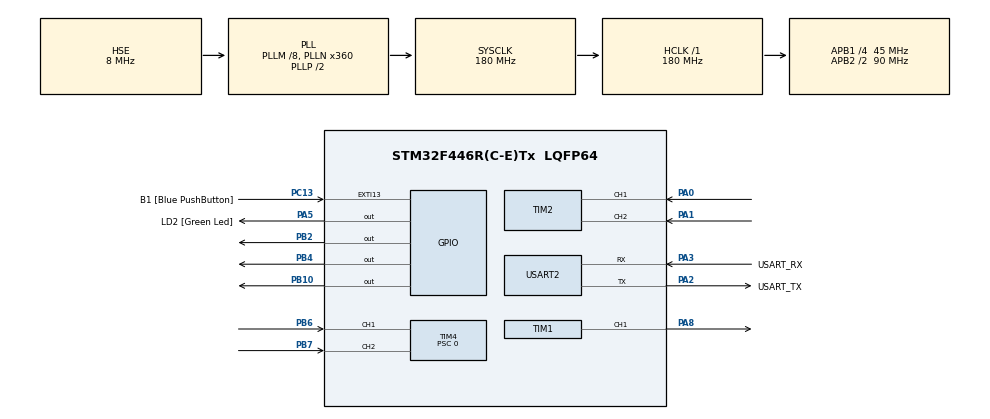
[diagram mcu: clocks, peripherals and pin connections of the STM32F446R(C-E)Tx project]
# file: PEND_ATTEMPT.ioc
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Dma.Request0=USART2_TX
Dma.USART2_TX.0.Direction=DMA_MEMORY_TO_PERIPH
Dma.USART2_TX.0.FIFOMode=DMA_FIFOMODE_DISABLE
Dma.USART2_TX.0.Instance=DMA1_Stream6
Dma.USART2_TX.0.MemDataAlignment=DMA_MDATAALIGN_BYTE
Dma.USART2_TX.0.MemInc=DMA_MINC_ENABLE
Dma.USART2_TX.0.Mode=DMA_NORMAL
Dma.USART2_TX.0.PeriphDataAlignment=DMA_PDATAALIGN_BYTE
Dma.USART2_TX.0.PeriphInc=DMA_PINC_DISABLE
Dma.USART2_TX.0.Priority=DMA_PRIORITY_LOW
Mcu.Family=STM32F4
Mcu.Name=STM32F446R(C-E)Tx
Mcu.Package=LQFP64
NVIC.DMA1_Stream6_IRQn=true\:1\:0\:true\:false\:true\:false\:true\:true
NVIC.PriorityGroup=NVIC_PRIORITYGROUP_1
NVIC.TIM3_IRQn=true\:0\:0\:false\:false\:true\:true\:true\:true
NVIC.TIM4_IRQn=true\:1\:0\:true\:false\:true\:true\:true\:true
PA0-WKUP.Signal=S_TIM2_CH1_ETR
PA1.Signal=S_TIM2_CH2
PA13.GPIO_Label=TMS
PA13.Mode=Serial_Wire
PA13.Signal=SYS_JTMS-SWDIO
PA14.GPIO_Label=TCK
PA14.Mode=Serial_Wire
PA14.Signal=SYS_JTCK-SWCLK
PA2.GPIO_Label=USART_TX
PA2.Mode=Asynchronous
PA2.Signal=USART2_TX
PA3.GPIO_Label=USART_RX
PA3.Mode=Asynchronous
PA3.Signal=USART2_RX
PA5.GPIO_Label=LD2 [Green Led]
PA5.Signal=GPIO_Output
PA8.Signal=S_TIM1_CH1
PB10.Signal=GPIO_Output
PB2.Signal=GPIO_Output
PB3.GPIO_Label=SWO
PB3.Signal=SYS_JTDO-SWO
PB4.Signal=GPIO_Output
PB6.Signal=S_TIM4_CH1
PB7.Signal=S_TIM4_CH2
PC13.GPIO_Label=B1 [Blue PushButton]
PC13.GPIO_ModeDefaultEXTI=GPIO_MODE_IT_FALLING
PC13.Signal=GPXTI13
PC14-OSC32_IN.Mode=LSE-External-Oscillator
PC14-OSC32_IN.Signal=RCC_OSC32_IN
PC15-OSC32_OUT.Mode=LSE-External-Oscillator
PC15-OSC32_OUT.Signal=RCC_OSC32_OUT
PH0-OSC_IN.Mode=HSE-External-Oscillator
PH0-OSC_IN.Signal=RCC_OSC_IN
PH1-OSC_OUT.Mode=HSE-External-Oscillator
PH1-OSC_OUT.Signal=RCC_OSC_OUT
ProjectManager.HeapSize=0x200
ProjectManager.StackSize=0x400
ProjectManager.TargetToolchain=STM32CubeIDE
RCC.48MHZClocksFreq_Value=84000000
RCC.AHBFreq_Value=180000000
RCC.APB1CLKDivider=RCC_HCLK_DIV4
RCC.APB1Freq_Value=45000000
RCC.APB1TimFreq_Value=90000000
RCC.APB2CLKDivider=RCC_HCLK_DIV2
RCC.APB2Freq_Value=90000000
RCC.APB2TimFreq_Value=180000000
RCC.CortexFreq_Value=180000000
RCC.FLatency-AdvancedSettings=FLASH_LATENCY_5
RCC.HCLKFreq_Value=180000000
RCC.HSE_VALUE=8000000
RCC.HSI_VALUE=16000000
RCC.PLLM=8
RCC.PLLN=360
RCC.PLLSourceVirtual=RCC_PLLSOURCE_HSE
RCC.SYSCLKFreq_VALUE=180000000
RCC.SYSCLKSource=RCC_SYSCLKSOURCE_PLLCLK
RCC.USBFreq_Value=180000000
RCC.VCOOutputFreq_Value=360000000
SH.S_TIM1_CH1.0=TIM1_CH1,PWM Generation1 CH1
SH.S_TIM2_CH1_ETR.0=TIM2_CH1,Encoder_Interface
SH.S_TIM2_CH2.0=TIM2_CH2,Encoder_Interface
SH.S_TIM4_CH1.0=TIM4_CH1,Encoder_Interface
SH.S_TIM4_CH2.0=TIM4_CH2,Encoder_Interface
TIM1.AutoReloadPreload=TIM_AUTORELOAD_PRELOAD_ENABLE
TIM1.Channel-PWM\ Generation1\ CH1=TIM_CHANNEL_1
TIM1.Period=8999
TIM2.EncoderMode=TIM_ENCODERMODE_TI12
TIM3.AutoReloadPreload=TIM_AUTORELOAD_PRELOAD_ENABLE
TIM3.Period=19
TIM3.Prescaler=8999
TIM4.EncoderMode=TIM_ENCODERMODE_TI12
TIM4.Prescaler=0
USART2.VirtualMode=VM_ASYNC
VP_TIM1_VS_ClockSourceINT.Mode=Internal
VP_TIM3_VS_ClockSourceINT.Mode=Internal
board=NUCLEO-F446RE

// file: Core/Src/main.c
/* USER CODE BEGIN Header */
/**
  ******************************************************************************
  * @file           : main.c
  * @brief          : Main program body
  ******************************************************************************
  * @attention
  *
  * Copyright (c) 2026 STMicroelectronics.
  * All rights reserved.
  *
  * This software is licensed under terms that can be found in the LICENSE file
  * in the root directory of this software component.
  * If no LICENSE file comes with this software, it is provided AS-IS.
  *
  ******************************************************************************
  */
/* USER CODE END Header */
#include "main.h"

/* USER CODE BEGIN Includes */
#include <math.h>
#include <stdlib.h>
#include <string.h>
#include <stdio.h>
/* USER CODE END Includes */

/* USER CODE BEGIN PD */
#define DT   0.002f
#define V_SUPPLY 3.0f   // change to 12.0f V
//physics sims constants
#define G       9.81f
#define M_PEND  0.5f
#define L       0.3f
#define R_M     2.4f
#define K_E     0.00954f
#define K_T     0.03f
#define DELTA_SW      0.5f
#define DELTA_DOT_SW  4.0f
/* USER CODE END PD */

TIM_HandleTypeDef htim1;
TIM_HandleTypeDef htim2;
TIM_HandleTypeDef htim3;
TIM_HandleTypeDef htim4;

UART_HandleTypeDef huart2;
DMA_HandleTypeDef hdma_usart2_tx;

void SystemClock_Config(void);
static void MX_GPIO_Init(void);
static void MX_DMA_Init(void);
static void MX_USART2_UART_Init(void);
static void MX_TIM1_Init(void);
static void MX_TIM3_Init(void);
static void MX_TIM4_Init(void);
static void MX_TIM2_Init(void);
/* USER CODE BEGIN PFP */
void HAL_TIM_PeriodElapsedCallback(TIM_HandleTypeDef *htim);
void setMotor(float Vcmd);
static inline float wrap(float angle);
/* USER CODE END PFP */

/* USER CODE BEGIN 0 */
//control loop constant
volatile uint8_t doControl = 0;
//gains from sim
const float Kd[2] = {-4.976694f, -1.404655f};
const float Ad[2][2] = {{1.000065f, 0.002000f}, {0.065401f, 1.000065f}};
const float Bd[2]    = {-0.000089f, -0.088891f};
const float Ld[2]    = {0.190094f,  4.418506f};
/* USER CODE END 0 */

int main(void)
{

  /* USER CODE BEGIN 1 */
	float x_hat[2]   = {-M_PI, 0.0f};
	float V_prev     = 0.0f;
	float omega_prev = 0.0f;
  /* USER CODE END 1 */

  /* MCU Configuration--------------------------------------------------------*/

  /* Reset of all peripherals, Initializes the Flash interface and the Systick. */
  HAL_Init();

  /* Configure the system clock */
  SystemClock_Config();

  /* Initialize all configured peripherals */
  MX_GPIO_Init();
  MX_DMA_Init();
  MX_USART2_UART_Init();
  MX_TIM1_Init();
  MX_TIM3_Init();
  MX_TIM4_Init();
  MX_TIM2_Init();
  /* USER CODE BEGIN 2 */
  HAL_TIM_Base_Start_IT(&htim3);
  HAL_TIM_PWM_Start(&htim1, TIM_CHANNEL_1);
  HAL_TIM_Encoder_Start(&htim2, TIM_CHANNEL_ALL);
  HAL_TIM_Encoder_Start(&htim4, TIM_CHANNEL_ALL);
  // = awake for the sleep pin
  HAL_GPIO_WritePin(GPIOB, GPIO_PIN_4, GPIO_PIN_SET);
  /* USER CODE END 2 */

  /* Infinite loop */
  /* USER CODE BEGIN WHILE */
  while (1)
  {
	  if (doControl) {
		  doControl=0;
		  //previous tau
		  float tau_prev = K_T * (V_prev - K_E * omega_prev) / R_M;
		  //we measure theta
		  int16_t count = (int16_t)TIM4->CNT;
		  float theta = ((float)count/(2048.0f * 4.0f))*2.0f*M_PI;
		  float delta_meas = wrap(theta - M_PI);
		  //we measure Omega
		  int32_t raw = (int32_t)TIM2->CNT;
		  float omega = ((float)raw / 48.0f) * (2.0f * M_PI) / DT;
		  TIM2->CNT = 0;
		  //sim + control
		  float x_hat_new[2];
		  x_hat_new[0] = Ad[0][0]*x_hat[0] + Ad[0][1]*x_hat[1] + Bd[0]*tau_prev;
		  x_hat_new[1] = Ad[1][0]*x_hat[0] + Ad[1][1]*x_hat[1] + Bd[1]*tau_prev;
		  x_hat[0] = x_hat_new[0];
		  x_hat[1] = x_hat_new[1];
		  //we correct with our out of house L constant from sim
		  float innov = delta_meas-x_hat[0];
		  x_hat[0] = x_hat[0] + Ld[0]*innov;
		  x_hat[1] = x_hat[1] + Ld[1] * innov;
		  //LQR or Bang Bang?
		  //energy for bang bang
		  float E = 0.5f * M_PEND * L * L * x_hat[1] * x_hat[1] - M_PEND * G * L * cosf(theta);
		  //our goal
		  float E_star = M_PEND * L * G;
		  //Bang Bang voltage:
		  float V_su;
		  if (fabsf(x_hat[1])<1e-6f) {
		        V_su = 0.3f*V_SUPPLY;
		   }
		   else if (E<E_star) {
		        V_su = -V_SUPPLY*x_hat[1]/(fabsf(x_hat[1]));
		   }
		   else {
		        V_su = 0;
		   }
		   //LQR
		   float tau_lqr_des = -(Kd[0] * x_hat[0] + Kd[1] * x_hat[1]);
		   float V_lqr = (tau_lqr_des/K_T)*R_M + K_E * omega;
		   //we choose
		   float V_cmd;
		   if (fabsf(x_hat[0])<DELTA_SW && fabsf(x_hat[1])<DELTA_DOT_SW) {
		        V_cmd=V_lqr;
		    }
		    else {
		        V_cmd = V_su;
		    }
		   setMotor(V_cmd);
		   omega_prev = omega;
		   V_prev = V_cmd;
		   static char buf[64];
		   static uint8_t uart_div = 0;
		   if (++uart_div >= 10) {
		       uart_div = 0;
		       int len = snprintf(buf, sizeof(buf), "%.3f,%.3f,%.3f,%.3f\r\n",
		                          delta_meas, x_hat[1], omega, V_cmd);
		       HAL_UART_Transmit_DMA(&huart2, (uint8_t*)buf, len);
		   }

	  }
    /* USER CODE END WHILE */

  }
}

void SystemClock_Config(void)
{
  RCC_OscInitTypeDef RCC_OscInitStruct = {0};
  RCC_ClkInitTypeDef RCC_ClkInitStruct = {0};

  /** Configure the main internal regulator output voltage
  */
  __HAL_RCC_PWR_CLK_ENABLE();
  __HAL_PWR_VOLTAGESCALING_CONFIG(PWR_REGULATOR_VOLTAGE_SCALE1);

  /** Initializes the RCC Oscillators according to the specified parameters
  * in the RCC_OscInitTypeDef structure.
  */
  RCC_OscInitStruct.OscillatorType = RCC_OSCILLATORTYPE_HSE;
  RCC_OscInitStruct.HSEState = RCC_HSE_ON;
  RCC_OscInitStruct.PLL.PLLState = RCC_PLL_ON;
  RCC_OscInitStruct.PLL.PLLSource = RCC_PLLSOURCE_HSE;
  RCC_OscInitStruct.PLL.PLLM = 8;
  RCC_OscInitStruct.PLL.PLLN = 360;
  RCC_OscInitStruct.PLL.PLLP = RCC_PLLP_DIV2;
  RCC_OscInitStruct.PLL.PLLQ = 2;
  RCC_OscInitStruct.PLL.PLLR = 2;
  if (HAL_RCC_OscConfig(&RCC_OscInitStruct) != HAL_OK)
  {
    Error_Handler();
  }

  /** Activate the Over-Drive mode
  */
  if (HAL_PWREx_EnableOverDrive() != HAL_OK)
  {
    Error_Handler();
  }

  /** Initializes the CPU, AHB and APB buses clocks
  */
  RCC_ClkInitStruct.ClockType = RCC_CLOCKTYPE_HCLK|RCC_CLOCKTYPE_SYSCLK
                              |RCC_CLOCKTYPE_PCLK1|RCC_CLOCKTYPE_PCLK2;
  RCC_ClkInitStruct.SYSCLKSource = RCC_SYSCLKSOURCE_PLLCLK;
  RCC_ClkInitStruct.AHBCLKDivider = RCC_SYSCLK_DIV1;
  RCC_ClkInitStruct.APB1CLKDivider = RCC_HCLK_DIV4;
  RCC_ClkInitStruct.APB2CLKDivider = RCC_HCLK_DIV2;

  if (HAL_RCC_ClockConfig(&RCC_ClkInitStruct, FLASH_LATENCY_5) != HAL_OK)
  {
    Error_Handler();
  }
}

static void MX_TIM1_Init(void)
{

  TIM_ClockConfigTypeDef sClockSourceConfig = {0};
  TIM_MasterConfigTypeDef sMasterConfig = {0};
  TIM_OC_InitTypeDef sConfigOC = {0};
  TIM_BreakDeadTimeConfigTypeDef sBreakDeadTimeConfig = {0};

  htim1.Instance = TIM1;
  htim1.Init.Prescaler = 0;
  htim1.Init.CounterMode = TIM_COUNTERMODE_UP;
  htim1.Init.Period = 8999;
  htim1.Init.ClockDivision = TIM_CLOCKDIVISION_DIV1;
  htim1.Init.RepetitionCounter = 0;
  htim1.Init.AutoReloadPreload = TIM_AUTORELOAD_PRELOAD_ENABLE;
  if (HAL_TIM_Base_Init(&htim1) != HAL_OK)
  {
    Error_Handler();
  }
  sClockSourceConfig.ClockSource = TIM_CLOCKSOURCE_INTERNAL;
  if (HAL_TIM_ConfigClockSource(&htim1, &sClockSourceConfig) != HAL_OK)
  {
    Error_Handler();
  }
  if (HAL_TIM_PWM_Init(&htim1) != HAL_OK)
  {
    Error_Handler();
  }
  sMasterConfig.MasterOutputTrigger = TIM_TRGO_RESET;
  sMasterConfig.MasterSlaveMode = TIM_MASTERSLAVEMODE_DISABLE;
  if (HAL_TIMEx_MasterConfigSynchronization(&htim1, &sMasterConfig) != HAL_OK)
  {
    Error_Handler();
  }
  sConfigOC.OCMode = TIM_OCMODE_PWM1;
  sConfigOC.Pulse = 0;
  sConfigOC.OCPolarity = TIM_OCPOLARITY_HIGH;
  sConfigOC.OCNPolarity = TIM_OCNPOLARITY_HIGH;
  sConfigOC.OCFastMode = TIM_OCFAST_DISABLE;
  sConfigOC.OCIdleState = TIM_OCIDLESTATE_RESET;
  sConfigOC.OCNIdleState = TIM_OCNIDLESTATE_RESET;
  if (HAL_TIM_PWM_ConfigChannel(&htim1, &sConfigOC, TIM_CHANNEL_1) != HAL_OK)
  {
    Error_Handler();
  }
  sBreakDeadTimeConfig.OffStateRunMode = TIM_OSSR_DISABLE;
  sBreakDeadTimeConfig.OffStateIDLEMode = TIM_OSSI_DISABLE;
  sBreakDeadTimeConfig.LockLevel = TIM_LOCKLEVEL_OFF;
  sBreakDeadTimeConfig.DeadTime = 0;
  sBreakDeadTimeConfig.BreakState = TIM_BREAK_DISABLE;
  sBreakDeadTimeConfig.BreakPolarity = TIM_BREAKPOLARITY_HIGH;
  sBreakDeadTimeConfig.AutomaticOutput = TIM_AUTOMATICOUTPUT_DISABLE;
  if (HAL_TIMEx_ConfigBreakDeadTime(&htim1, &sBreakDeadTimeConfig) != HAL_OK)
  {
    Error_Handler();
  }
  HAL_TIM_MspPostInit(&htim1);

}

static void MX_TIM2_Init(void)
{

  TIM_Encoder_InitTypeDef sConfig = {0};
  TIM_MasterConfigTypeDef sMasterConfig = {0};

  htim2.Instance = TIM2;
  htim2.Init.Prescaler = 0;
  htim2.Init.CounterMode = TIM_COUNTERMODE_UP;
  htim2.Init.Period = 4294967295;
  htim2.Init.ClockDivision = TIM_CLOCKDIVISION_DIV1;
  htim2.Init.AutoReloadPreload = TIM_AUTORELOAD_PRELOAD_DISABLE;
  sConfig.EncoderMode = TIM_ENCODERMODE_TI12;
  sConfig.IC1Polarity = TIM_ICPOLARITY_RISING;
  sConfig.IC1Selection = TIM_ICSELECTION_DIRECTTI;
  sConfig.IC1Prescaler = TIM_ICPSC_DIV1;
  sConfig.IC1Filter = 0;
  sConfig.IC2Polarity = TIM_ICPOLARITY_RISING;
  sConfig.IC2Selection = TIM_ICSELECTION_DIRECTTI;
  sConfig.IC2Prescaler = TIM_ICPSC_DIV1;
  sConfig.IC2Filter = 0;
  if (HAL_TIM_Encoder_Init(&htim2, &sConfig) != HAL_OK)
  {
    Error_Handler();
  }
  sMasterConfig.MasterOutputTrigger = TIM_TRGO_RESET;
  sMasterConfig.MasterSlaveMode = TIM_MASTERSLAVEMODE_DISABLE;
  if (HAL_TIMEx_MasterConfigSynchronization(&htim2, &sMasterConfig) != HAL_OK)
  {
    Error_Handler();
  }

}

static void MX_TIM3_Init(void)
{

  TIM_ClockConfigTypeDef sClockSourceConfig = {0};
  TIM_MasterConfigTypeDef sMasterConfig = {0};

  htim3.Instance = TIM3;
  htim3.Init.Prescaler = 8999;
  htim3.Init.CounterMode = TIM_COUNTERMODE_UP;
  htim3.Init.Period = 19;
  htim3.Init.ClockDivision = TIM_CLOCKDIVISION_DIV1;
  htim3.Init.AutoReloadPreload = TIM_AUTORELOAD_PRELOAD_ENABLE;
  if (HAL_TIM_Base_Init(&htim3) != HAL_OK)
  {
    Error_Handler();
  }
  sClockSourceConfig.ClockSource = TIM_CLOCKSOURCE_INTERNAL;
  if (HAL_TIM_ConfigClockSource(&htim3, &sClockSourceConfig) != HAL_OK)
  {
    Error_Handler();
  }
  sMasterConfig.MasterOutputTrigger = TIM_TRGO_RESET;
  sMasterConfig.MasterSlaveMode = TIM_MASTERSLAVEMODE_DISABLE;
  if (HAL_TIMEx_MasterConfigSynchronization(&htim3, &sMasterConfig) != HAL_OK)
  {
    Error_Handler();
  }

}

static void MX_TIM4_Init(void)
{

  TIM_Encoder_InitTypeDef sConfig = {0};
  TIM_MasterConfigTypeDef sMasterConfig = {0};

  htim4.Instance = TIM4;
  htim4.Init.Prescaler = 0;
  htim4.Init.CounterMode = TIM_COUNTERMODE_UP;
  htim4.Init.Period = 65535;
  htim4.Init.ClockDivision = TIM_CLOCKDIVISION_DIV1;
  htim4.Init.AutoReloadPreload = TIM_AUTORELOAD_PRELOAD_DISABLE;
  sConfig.EncoderMode = TIM_ENCODERMODE_TI12;
  sConfig.IC1Polarity = TIM_ICPOLARITY_RISING;
  sConfig.IC1Selection = TIM_ICSELECTION_DIRECTTI;
  sConfig.IC1Prescaler = TIM_ICPSC_DIV1;
  sConfig.IC1Filter = 0;
  sConfig.IC2Polarity = TIM_ICPOLARITY_RISING;
  sConfig.IC2Selection = TIM_ICSELECTION_DIRECTTI;
  sConfig.IC2Prescaler = TIM_ICPSC_DIV1;
  sConfig.IC2Filter = 0;
  if (HAL_TIM_Encoder_Init(&htim4, &sConfig) != HAL_OK)
  {
    Error_Handler();
  }
  sMasterConfig.MasterOutputTrigger = TIM_TRGO_RESET;
  sMasterConfig.MasterSlaveMode = TIM_MASTERSLAVEMODE_DISABLE;
  if (HAL_TIMEx_MasterConfigSynchronization(&htim4, &sMasterConfig) != HAL_OK)
  {
    Error_Handler();
  }

}

static void MX_USART2_UART_Init(void)
{

  huart2.Instance = USART2;
  huart2.Init.BaudRate = 115200;
  huart2.Init.WordLength = UART_WORDLENGTH_8B;
  huart2.Init.StopBits = UART_STOPBITS_1;
  huart2.Init.Parity = UART_PARITY_NONE;
  huart2.Init.Mode = UART_MODE_TX_RX;
  huart2.Init.HwFlowCtl = UART_HWCONTROL_NONE;
  huart2.Init.OverSampling = UART_OVERSAMPLING_16;
  if (HAL_UART_Init(&huart2) != HAL_OK)
  {
    Error_Handler();
  }

}

static void MX_DMA_Init(void)
{

  /* DMA controller clock enable */
  __HAL_RCC_DMA1_CLK_ENABLE();

  /* DMA interrupt init */
  /* DMA1_Stream6_IRQn interrupt configuration */
  HAL_NVIC_SetPriority(DMA1_Stream6_IRQn, 1, 0);
  HAL_NVIC_EnableIRQ(DMA1_Stream6_IRQn);

}

static void MX_GPIO_Init(void)
{
  GPIO_InitTypeDef GPIO_InitStruct = {0};

  /* GPIO Ports Clock Enable */
  __HAL_RCC_GPIOC_CLK_ENABLE();
  __HAL_RCC_GPIOH_CLK_ENABLE();
  __HAL_RCC_GPIOA_CLK_ENABLE();
  __HAL_RCC_GPIOB_CLK_ENABLE();

  /*Configure GPIO pin Output Level */
  HAL_GPIO_WritePin(LD2_GPIO_Port, LD2_Pin, GPIO_PIN_RESET);

  /*Configure GPIO pin Output Level */
  HAL_GPIO_WritePin(GPIOB, GPIO_PIN_2|GPIO_PIN_10|GPIO_PIN_4, GPIO_PIN_RESET);

  /*Configure GPIO pin : B1_Pin */
  GPIO_InitStruct.Pin = B1_Pin;
  GPIO_InitStruct.Mode = GPIO_MODE_IT_FALLING;
  GPIO_InitStruct.Pull = GPIO_NOPULL;
  HAL_GPIO_Init(B1_GPIO_Port, &GPIO_InitStruct);

  /*Configure GPIO pin : LD2_Pin */
  GPIO_InitStruct.Pin = LD2_Pin;
  GPIO_InitStruct.Mode = GPIO_MODE_OUTPUT_PP;
  GPIO_InitStruct.Pull = GPIO_NOPULL;
  GPIO_InitStruct.Speed = GPIO_SPEED_FREQ_LOW;
  HAL_GPIO_Init(LD2_GPIO_Port, &GPIO_InitStruct);

  /*Configure GPIO pins : PB2 PB10 PB4 */
  GPIO_InitStruct.Pin = GPIO_PIN_2|GPIO_PIN_10|GPIO_PIN_4;
  GPIO_InitStruct.Mode = GPIO_MODE_OUTPUT_PP;
  GPIO_InitStruct.Pull = GPIO_NOPULL;
  GPIO_InitStruct.Speed = GPIO_SPEED_FREQ_LOW;
  HAL_GPIO_Init(GPIOB, &GPIO_InitStruct);

}

/* USER CODE BEGIN 4 */
void HAL_TIM_PeriodElapsedCallback(TIM_HandleTypeDef *htim)
	{

		if (htim->Instance == TIM3)
		{
			doControl=1;
		}
}
void setMotor(float Vcmd){
	Vcmd=fmaxf(-V_SUPPLY,fminf(V_SUPPLY,Vcmd));
	uint32_t duty = (uint32_t)(fabsf(Vcmd)/V_SUPPLY*8999.0f);
	if (Vcmd>0.0f) {
		HAL_GPIO_WritePin(GPIOB, GPIO_PIN_10, GPIO_PIN_SET);//INA
		HAL_GPIO_WritePin(GPIOB, GPIO_PIN_2,  GPIO_PIN_RESET);//INB
	}
	else {
		HAL_GPIO_WritePin(GPIOB, GPIO_PIN_10, GPIO_PIN_RESET);//INA
		HAL_GPIO_WritePin(GPIOB, GPIO_PIN_2,  GPIO_PIN_SET);//INB
	}
	__HAL_TIM_SET_COMPARE(&htim1, TIM_CHANNEL_1, duty);

}
static inline float wrap(float angle) {
	    while (angle > M_PI)  angle -= 2.0f * M_PI;
	    while (angle < -M_PI) angle += 2.0f * M_PI;
	    return angle;
	}
/* USER CODE END 4 */

void Error_Handler(void)
{
  __disable_irq();
  while (1)
  {
  }
}
